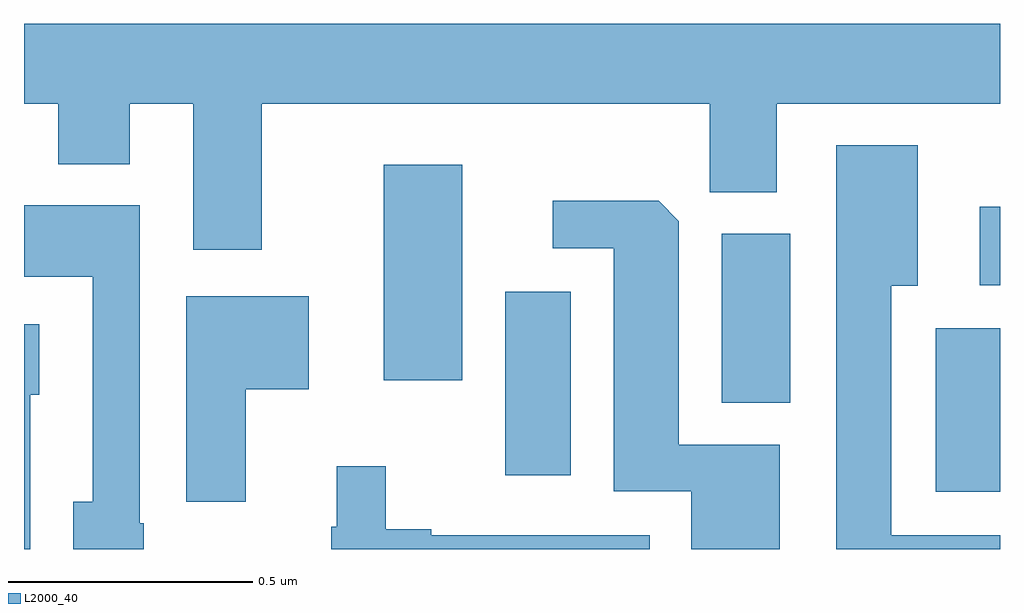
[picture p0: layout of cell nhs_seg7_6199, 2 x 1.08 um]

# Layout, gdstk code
import gdstk
lib = gdstk.Library(unit=1e-6, precision=1e-09)
def R(c, l, rs):  # rectangles x0, y0, x1, y1
    for r in rs: c.add(gdstk.rectangle(r[:2], r[2:], *l))
def P(c, l, *ps):  # polygons
    for p in ps: c.add(gdstk.Polygon(p, *l))
L2000_40 = (2000, 40)

nhs_seg7_6199 = lib.new_cell('nhs_seg7_6199')
R(nhs_seg7_6199, L2000_40, [(196.868,1037.117,197,1037.452), (195.986,1037.151,196.12,1037.527), (196.43,1037.3,196.57,1037.646), (195.737,1037.346,195.898,1037.788), (196.959,1037.541,197,1037.701)])
P(nhs_seg7_6199, L2000_40, [(195.487,1037.912),(196.405,1037.912),(196.405,1037.731),(196.543,1037.731),(196.543,1037.912),(197,1037.912),(197,1038.076),(195,1038.076),(195,1037.912),(195.07,1037.912),(195.07,1037.789),(195.217,1037.789),(195.217,1037.912),(195.347,1037.912),(195.347,1037.613),(195.487,1037.613)],
  [(197,1037.028),(196.777,1037.028),(196.777,1037.54),(196.831,1037.54),(196.831,1037.827),(196.664,1037.827),(196.664,1037),(197,1037)],
  [(196.549,1037.214),(196.342,1037.214),(196.342,1037.672),(196.301,1037.714),(196.083,1037.714),(196.083,1037.616),(196.208,1037.616),(196.208,1037.118),(196.367,1037.118),(196.367,1037),(196.549,1037)],
  [(195.245,1037.053),(195.237,1037.053),(195.237,1037.704),(195,1037.704),(195,1037.558),(195.141,1037.558),(195.141,1037.097),(195.101,1037.097),(195.101,1037),(195.245,1037)],
  [(195.454,1037.327),(195.583,1037.327),(195.583,1037.518),(195.332,1037.518),(195.332,1037.097),(195.454,1037.097)],
  [(195.013,1037.316),(195.031,1037.316),(195.031,1037.461),(195,1037.461),(195,1037),(195.013,1037)],
  [(196.282,1037.028),(195.835,1037.028),(195.835,1037.041),(195.741,1037.041),(195.741,1037.17),(195.641,1037.17),(195.641,1037.046),(195.63,1037.046),(195.63,1037),(196.282,1037)])

lib.write_gds('nhs_seg7_6199.gds')
